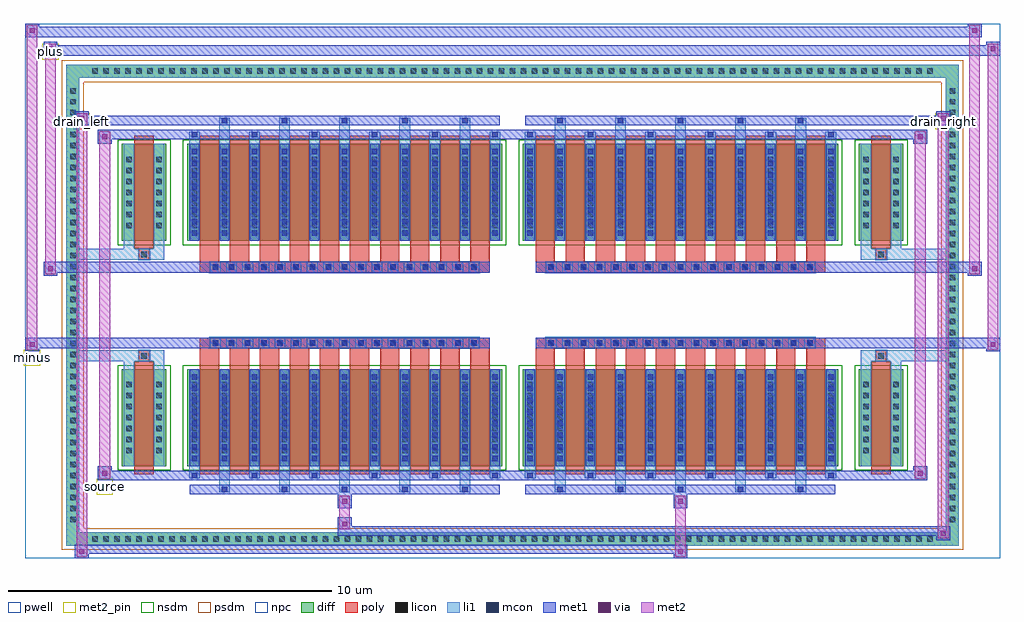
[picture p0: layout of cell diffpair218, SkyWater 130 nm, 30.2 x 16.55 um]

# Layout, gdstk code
import gdstk
lib = gdstk.Library(unit=1e-6, precision=5e-09)
def R(c, l, rs):  # rectangles x0, y0, x1, y1
    for r in rs: c.add(gdstk.rectangle(r[:2], r[2:], *l))
def A(c, l, x, y, w, h, nx, ny, dx, dy):  # array of equal rectangles
    R(c, l, [(x+i*dx, y+j*dy, x+i*dx+w, y+j*dy+h) for i in range(nx) for j in range(ny)])
def P(c, l, *ps):  # polygons
    for p in ps: c.add(gdstk.Polygon(p, *l))
pwell = (64, 44)
diff = (65, 20)
poly = (66, 20)
licon = (66, 44)
li1 = (67, 20)
mcon = (67, 44)
met1 = (68, 20)
via = (68, 44)
met2_pin = (69, 16)
met2 = (69, 20)
nsdm = (93, 44)
psdm = (94, 20)
npc = (95, 20)

diffpair218 = lib.new_cell('diffpair218')
R(diffpair218, pwell, [(-15.08,-7.84,15.08,8.71), (-12.4,-6.03,-0.01,-0.805), (0.01,-6.03,12.4,-0.805), (-12.4,0.805,-0.01,6.03), (0.01,0.805,12.4,6.03)])
A(diffpair218, diff, -13.125, -7.44, 0.41, 0.41, 77, 2, 0.34, 14.47)
A(diffpair218, diff, -13.81, -6.835, 0.41, 0.41, 1, 40, 0, 0.34)
A(diffpair218, diff, 13.4, -6.835, 0.41, 0.41, 1, 40, 0, 0.34)
R(diffpair218, diff, [(-13.125,-7.44,13.125,-7.03), (-13.81,-6.835,-13.4,6.835), (13.4,-6.835,13.81,6.835), (-12.09,-4.985,-10.71,-1.985), (-10.07,-4.985,-0.32,-1.985), (0.32,-4.985,10.07,-1.985), (10.71,-4.985,12.09,-1.985), (-12.09,1.985,-10.71,4.985), (-10.07,1.985,-0.32,4.985), (0.32,1.985,10.07,4.985), (10.71,1.985,12.09,4.985), (-13.125,7.03,13.125,7.44)])
P(diffpair218, diff, [(13.81,7.44),(-13.81,7.44),(-13.81,-7.03),(-13.4,-7.03),(-13.4,7.03),(13.4,7.03),(13.4,-7.03),(-13.4,-7.03),(-13.81,-7.03),(-13.81,-7.44),(13.81,-7.44)])
A(diffpair218, poly, -9.68, -5.235, 0.6, 3.5, 10, 2, 0.93, 6.97)
A(diffpair218, poly, 0.71, -5.235, 0.6, 3.5, 10, 2, 0.93, 6.97)
A(diffpair218, poly, -9.68, -1.735, 0.6, 0.4, 10, 2, 0.93, 3.07)
A(diffpair218, poly, 0.71, -1.735, 0.6, 0.4, 10, 2, 0.93, 3.07)
A(diffpair218, poly, -9.36, -1.335, 0.33, 0.33, 17, 2, 0.5, 2.34)
A(diffpair218, poly, 1.03, -1.335, 0.33, 0.33, 17, 2, 0.5, 2.34)
R(diffpair218, poly, [(-11.7,-5.235,-11.1,-1.735), (11.1,-5.235,11.7,-1.735), (-11.565,-1.735,-11.235,-1.405), (-11.565,-1.735,-11.235,-1.405), (11.235,-1.735,11.565,-1.405), (11.235,-1.735,11.565,-1.405), (-9.68,-1.335,-0.71,-1.005), (0.71,-1.335,9.68,-1.005), (-9.68,1.005,-0.71,1.335), (0.71,1.005,9.68,1.335), (-11.565,1.405,-11.235,1.735), (-11.565,1.405,-11.235,1.735), (11.235,1.405,11.565,1.735), (11.235,1.405,11.565,1.735), (-11.7,1.735,-11.1,5.235), (11.1,1.735,11.7,5.235)])
A(diffpair218, licon, -13.005, -7.32, 0.17, 0.17, 77, 2, 0.34, 14.47)
A(diffpair218, licon, -13.69, -6.715, 0.17, 0.17, 1, 40, 0, 0.34)
A(diffpair218, licon, 13.52, -6.715, 0.17, 0.17, 1, 40, 0, 0.34)
A(diffpair218, licon, -11.95, -4.59, 0.17, 0.17, 1, 7, 0, 0.34)
A(diffpair218, licon, -11.02, -4.59, 0.17, 0.17, 1, 7, 0, 0.34)
A(diffpair218, licon, -9.93, -4.59, 0.17, 0.17, 11, 7, 0.93, 0.34)
A(diffpair218, licon, 0.46, -4.59, 0.17, 0.17, 11, 7, 0.93, 0.34)
A(diffpair218, licon, 10.85, -4.59, 0.17, 0.17, 1, 7, 0, 0.34)
A(diffpair218, licon, 11.78, -4.59, 0.17, 0.17, 1, 7, 0, 0.34)
A(diffpair218, licon, -9.28, -1.255, 0.17, 0.17, 17, 2, 0.5, 2.34)
A(diffpair218, licon, 1.11, -1.255, 0.17, 0.17, 17, 2, 0.5, 2.34)
A(diffpair218, licon, -11.95, 2.38, 0.17, 0.17, 1, 7, 0, 0.34)
A(diffpair218, licon, -11.02, 2.38, 0.17, 0.17, 1, 7, 0, 0.34)
A(diffpair218, licon, -9.93, 2.38, 0.17, 0.17, 11, 7, 0.93, 0.34)
A(diffpair218, licon, 0.46, 2.38, 0.17, 0.17, 11, 7, 0.93, 0.34)
A(diffpair218, licon, 10.85, 2.38, 0.17, 0.17, 1, 7, 0, 0.34)
A(diffpair218, licon, 11.78, 2.38, 0.17, 0.17, 1, 7, 0, 0.34)
R(diffpair218, licon, [(-11.485,-1.655,-11.315,-1.485), (11.315,-1.655,11.485,-1.485), (-11.485,1.485,-11.315,1.655), (11.315,1.485,11.485,1.655)])
A(diffpair218, li1, -13.085, -7.4, 0.33, 0.33, 77, 2, 0.34, 14.47)
A(diffpair218, li1, -13.77, -6.795, 0.33, 0.33, 1, 40, 0, 0.34)
A(diffpair218, li1, 13.44, -6.795, 0.33, 0.33, 1, 40, 0, 0.34)
A(diffpair218, li1, -9.08, -5.79, 0.33, 0.805, 5, 2, 1.86, 10.775)
A(diffpair218, li1, -9, -5.79, 0.17, 0.17, 5, 2, 1.86, 11.41)
A(diffpair218, li1, 1.31, -5.79, 0.33, 0.805, 5, 2, 1.86, 10.775)
A(diffpair218, li1, 1.39, -5.79, 0.17, 0.17, 5, 2, 1.86, 11.41)
A(diffpair218, li1, -10.01, -5.36, 0.33, 0.375, 6, 2, 1.86, 10.345)
A(diffpair218, li1, -9.93, -5.36, 0.17, 0.17, 6, 2, 1.86, 10.55)
A(diffpair218, li1, 0.38, -5.36, 0.33, 0.375, 6, 2, 1.86, 10.345)
A(diffpair218, li1, 0.46, -5.36, 0.17, 0.17, 6, 2, 1.86, 10.55)
A(diffpair218, li1, -10.01, -4.985, 0.33, 3, 11, 2, 0.93, 6.97)
A(diffpair218, li1, 0.38, -4.985, 0.33, 3, 11, 2, 0.93, 6.97)
A(diffpair218, li1, -9.93, -4.83, 0.17, 0.17, 11, 8, 0.93, 0.36)
A(diffpair218, li1, -9.93, -4.83, 0.17, 2.69, 11, 2, 0.93, 6.97)
A(diffpair218, li1, 0.46, -4.83, 0.17, 0.17, 11, 8, 0.93, 0.36)
A(diffpair218, li1, 0.46, -4.83, 0.17, 2.69, 11, 2, 0.93, 6.97)
A(diffpair218, li1, -12.03, -4.67, 0.33, 0.33, 1, 7, 0, 0.34)
A(diffpair218, li1, -11.1, -4.67, 0.33, 0.33, 1, 7, 0, 0.34)
A(diffpair218, li1, -10.01, -4.67, 0.33, 0.33, 11, 7, 0.93, 0.34)
A(diffpair218, li1, 0.38, -4.67, 0.33, 0.33, 11, 7, 0.93, 0.34)
A(diffpair218, li1, 10.77, -4.67, 0.33, 0.33, 1, 7, 0, 0.34)
A(diffpair218, li1, 11.7, -4.67, 0.33, 0.33, 1, 7, 0, 0.34)
A(diffpair218, li1, -9.36, -1.335, 0.33, 0.33, 17, 2, 0.5, 2.34)
A(diffpair218, li1, 1.03, -1.335, 0.33, 0.33, 17, 2, 0.5, 2.34)
A(diffpair218, li1, -9.93, 2.14, 0.17, 0.17, 11, 8, 0.93, 0.36)
A(diffpair218, li1, 0.46, 2.14, 0.17, 0.17, 11, 8, 0.93, 0.36)
A(diffpair218, li1, -12.03, 2.3, 0.33, 0.33, 1, 7, 0, 0.34)
A(diffpair218, li1, -11.1, 2.3, 0.33, 0.33, 1, 7, 0, 0.34)
A(diffpair218, li1, -10.01, 2.3, 0.33, 0.33, 11, 7, 0.93, 0.34)
A(diffpair218, li1, 0.38, 2.3, 0.33, 0.33, 11, 7, 0.93, 0.34)
A(diffpair218, li1, 10.77, 2.3, 0.33, 0.33, 1, 7, 0, 0.34)
A(diffpair218, li1, 11.7, 2.3, 0.33, 0.33, 1, 7, 0, 0.34)
R(diffpair218, li1, [(-13.81,-7.44,-13.4,-7.03), (-13.81,-7.44,-13.4,-7.03), (-13.4,-7.44,13.4,-7.03), (13.4,-7.44,13.81,-7.03), (13.4,-7.44,13.81,-7.03), (-13.81,-7.03,-13.4,7.03), (13.4,-7.03,13.81,7.03), (-12.03,-4.985,-11.7,-1.985), (-11.1,-4.985,-10.77,-1.985), (10.77,-4.985,11.1,-1.985), (11.7,-4.985,12.03,-1.985), (-12.03,-1.985,-11.7,-1.405), (-11.1,-1.985,-10.77,-1.405), (10.77,-1.985,11.1,-1.405), (11.7,-1.985,12.03,-1.405), (-13.81,-1.735,-11.565,-1.405), (-12.03,-1.735,-11.565,-1.405), (-11.565,-1.735,-11.235,-1.405), (-11.235,-1.735,-10.77,-1.405), (10.77,-1.735,11.235,-1.405), (11.235,-1.735,11.565,-1.405), (11.235,-1.735,13.81,-1.405), (11.565,-1.735,12.03,-1.405), (-13.81,1.405,-11.565,1.735), (-12.03,1.405,-11.565,1.735), (-12.03,1.405,-11.7,1.985), (-11.565,1.405,-11.235,1.735), (-11.235,1.405,-10.77,1.735), (-11.1,1.405,-10.77,1.985), (10.77,1.405,11.235,1.735), (10.77,1.405,11.1,1.985), (11.235,1.405,11.565,1.735), (11.235,1.405,13.81,1.735), (11.565,1.405,12.03,1.735), (11.7,1.405,12.03,1.985), (-12.03,1.985,-11.7,4.985), (-11.1,1.985,-10.77,4.985), (10.77,1.985,11.1,4.985), (11.7,1.985,12.03,4.985), (-13.81,7.03,-13.4,7.44), (-13.81,7.03,-13.4,7.44), (-13.4,7.03,13.4,7.44), (13.4,7.03,13.81,7.44), (13.4,7.03,13.81,7.44)])
A(diffpair218, mcon, -9, -5.79, 0.17, 0.17, 5, 2, 1.86, 11.41)
A(diffpair218, mcon, 1.39, -5.79, 0.17, 0.17, 5, 2, 1.86, 11.41)
A(diffpair218, mcon, -9.93, -5.36, 0.17, 0.17, 6, 2, 1.86, 10.55)
A(diffpair218, mcon, 0.46, -5.36, 0.17, 0.17, 6, 2, 1.86, 10.55)
A(diffpair218, mcon, -9.93, -4.83, 0.17, 0.17, 11, 8, 0.93, 0.36)
A(diffpair218, mcon, 0.46, -4.83, 0.17, 0.17, 11, 8, 0.93, 0.36)
A(diffpair218, mcon, -9.28, -1.255, 0.17, 0.17, 17, 2, 0.5, 2.34)
A(diffpair218, mcon, 1.11, -1.255, 0.17, 0.17, 17, 2, 0.5, 2.34)
A(diffpair218, mcon, -9.93, 2.14, 0.17, 0.17, 11, 8, 0.93, 0.36)
A(diffpair218, mcon, 0.46, 2.14, 0.17, 0.17, 11, 8, 0.93, 0.36)
A(diffpair218, met1, -9.06, -5.85, 0.29, 0.29, 5, 2, 1.86, 11.41)
A(diffpair218, met1, 1.33, -5.85, 0.29, 0.29, 5, 2, 1.86, 11.41)
A(diffpair218, met1, -9.99, -5.42, 0.29, 0.29, 6, 2, 1.86, 10.55)
A(diffpair218, met1, 0.4, -5.42, 0.29, 0.29, 6, 2, 1.86, 10.55)
A(diffpair218, met1, -9.99, -4.985, 0.29, 3, 11, 2, 0.93, 6.97)
A(diffpair218, met1, 0.4, -4.985, 0.29, 3, 11, 2, 0.93, 6.97)
A(diffpair218, met1, -9.99, -4.89, 0.29, 0.29, 11, 8, 0.93, 0.36)
A(diffpair218, met1, 0.4, -4.89, 0.29, 0.29, 11, 8, 0.93, 0.36)
A(diffpair218, met1, -9.34, -1.315, 0.29, 0.29, 17, 2, 0.5, 2.34)
A(diffpair218, met1, 1.05, -1.315, 0.29, 0.29, 17, 2, 0.5, 2.34)
A(diffpair218, met1, -9.99, 2.08, 0.29, 0.29, 11, 8, 0.93, 0.36)
A(diffpair218, met1, 0.4, 2.08, 0.29, 0.29, 11, 8, 0.93, 0.36)
R(diffpair218, met1, [(-13.54,-7.84,-13.11,-7.41), (4.98,-7.84,5.41,-7.41), (-13.54,-7.7,5.41,-7.41), (13.11,-7.27,13.54,-6.84), (-5.41,-7.13,13.54,-6.84), (-5.41,-6.99,-4.98,-6.56), (-5.41,-6.28,-4.98,-5.85), (4.98,-6.28,5.41,-5.85), (-9.99,-5.85,-0.4,-5.56), (0.4,-5.85,9.99,-5.56), (-12.83,-5.42,-12.4,-4.99), (-12.83,-5.42,-9.99,-5.13), (-9.99,-5.42,-0.4,-5.13), (-0.4,-5.42,0.4,-5.13), (0.4,-5.42,9.99,-5.13), (9.99,-5.42,12.83,-5.13), (12.4,-5.42,12.83,-4.99), (-15.08,-1.435,-14.65,-1.005), (14.65,-1.435,15.08,-1.005), (-15.08,-1.335,-0.71,-1.005), (-9.68,-1.335,-0.71,-1.005), (0.71,-1.335,9.68,-1.005), (0.71,-1.335,15.08,-1.005), (-14.51,0.905,-14.08,1.335), (14.08,0.905,14.51,1.335), (-14.51,1.005,-9.68,1.335), (-9.68,1.005,-0.71,1.335), (0.71,1.005,9.68,1.335), (9.68,1.005,14.51,1.335), (-12.83,4.99,-12.4,5.42), (12.4,4.99,12.83,5.42), (-12.83,5.13,-9.99,5.42), (-9.99,5.13,-0.4,5.42), (-0.4,5.13,0.4,5.42), (0.4,5.13,9.99,5.42), (9.99,5.13,12.83,5.42), (-13.54,5.56,-13.11,5.99), (-13.54,5.56,-9.99,5.85), (-9.99,5.56,-0.4,5.85), (0.4,5.56,9.99,5.85), (9.99,5.56,13.54,5.85), (13.11,5.56,13.54,5.99), (-14.51,7.71,-14.08,8.14), (-14.51,7.71,-12.4,8.04), (-12.4,7.71,12.4,8.04), (12.4,7.71,15.08,8.04), (14.65,7.71,15.08,8.14), (-15.08,8.28,-14.65,8.71), (-15.08,8.28,-12.4,8.61), (-12.4,8.28,12.4,8.61), (12.4,8.28,14.51,8.61), (14.08,8.28,14.51,8.71)])
R(diffpair218, via, [(-13.4,-7.7,-13.25,-7.55), (5.12,-7.7,5.27,-7.55), (13.25,-7.13,13.4,-6.98), (-5.27,-6.85,-5.12,-6.7), (-5.27,-6.14,-5.12,-5.99), (5.12,-6.14,5.27,-5.99), (-12.69,-5.28,-12.54,-5.13), (12.54,-5.28,12.69,-5.13), (-14.94,-1.295,-14.79,-1.145), (14.79,-1.295,14.94,-1.145), (-14.37,1.045,-14.22,1.195), (14.22,1.045,14.37,1.195), (-12.69,5.13,-12.54,5.28), (12.54,5.13,12.69,5.28), (-13.4,5.7,-13.25,5.85), (13.25,5.7,13.4,5.85), (-14.37,7.85,-14.22,8), (14.79,7.85,14.94,8), (-14.94,8.42,-14.79,8.57), (14.22,8.42,14.37,8.57)])
R(diffpair218, met2_pin, [(-12.865,-5.87,-12.365,-5.37), (-15.115,-1.885,-14.615,-1.385), (-13.575,5.44,-13.075,5.94), (13.075,5.44,13.575,5.94), (-14.545,7.59,-14.045,8.09)])
R(diffpair218, met2, [(-13.49,-7.79,-13.16,-7.46), (-13.49,-7.79,-13.16,5.94), (5.03,-7.79,5.36,-7.46), (5.03,-7.46,5.36,-6.23), (13.16,-7.22,13.49,-6.89), (13.16,-7.22,13.49,5.94), (-5.36,-6.94,-5.03,-6.61), (-5.36,-6.61,-5.03,-6.23), (-5.36,-6.23,-5.03,-5.9), (5.03,-6.23,5.36,-5.9), (-12.78,-5.37,-12.45,-5.04), (-12.78,-5.37,-12.45,5.37), (12.45,-5.37,12.78,-5.04), (12.45,-5.37,12.78,5.37), (-15.03,-1.385,-14.7,-1.055), (-15.03,-1.385,-14.7,8.66), (14.7,-1.385,15.03,-1.055), (14.7,-1.385,15.03,8.09), (-14.46,0.955,-14.13,1.285), (-14.46,0.955,-14.13,8.09), (14.13,0.955,14.46,1.285), (14.13,0.955,14.46,8.66), (-12.78,5.04,-12.45,5.37), (12.45,5.04,12.78,5.37), (-13.49,5.61,-13.16,5.94), (13.16,5.61,13.49,5.94), (-14.46,7.76,-14.13,8.09), (14.7,7.76,15.03,8.09), (-15.03,8.33,-14.7,8.66), (14.13,8.33,14.46,8.66)])
P(diffpair218, met2, [(15.03,-1.385),(15.03,-1.385),(15.03,-1.055),(15.03,-1.055)],
  [(15.03,7.76),(15.03,7.76),(15.03,8.09),(15.03,8.09)],
  [(-14.7,-1.385),(-14.7,-1.385),(-14.7,-1.055),(-14.7,-1.055)],
  [(-14.7,8.33),(-14.7,8.33),(-14.7,8.66),(-14.7,8.66)],
  [(14.46,0.955),(14.46,0.955),(14.46,1.285),(14.46,1.285)],
  [(14.46,8.33),(14.46,8.33),(14.46,8.66),(14.46,8.66)],
  [(-14.13,0.955),(-14.13,0.955),(-14.13,1.285),(-14.13,1.285)],
  [(-14.13,7.76),(-14.13,7.76),(-14.13,8.09),(-14.13,8.09)],
  [(-13.16,-7.79),(-13.16,-7.79),(-13.16,-7.46),(-13.16,-7.46)],
  [(-13.16,5.61),(-13.16,5.61),(-13.16,5.94),(-13.16,5.94)],
  [(13.49,-7.22),(13.49,-7.22),(13.49,-6.89),(13.49,-6.89)],
  [(13.49,5.61),(13.49,5.61),(13.49,5.94),(13.49,5.94)],
  [(-12.45,-5.37),(-12.45,-5.37),(-12.45,-5.04),(-12.45,-5.04)],
  [(-12.45,5.04),(-12.45,5.04),(-12.45,5.37),(-12.45,5.37)],
  [(12.78,-5.37),(12.78,-5.37),(12.78,-5.04),(12.78,-5.04)],
  [(12.78,5.04),(12.78,5.04),(12.78,5.37),(12.78,5.37)])
R(diffpair218, nsdm, [(-12.22,-5.115,-10.58,-1.855), (-10.2,-5.115,-0.19,-1.855), (0.19,-5.115,10.2,-1.855), (10.58,-5.115,12.22,-1.855), (-12.22,1.855,-10.58,5.115), (-10.2,1.855,-0.19,5.115), (0.19,1.855,10.2,5.115), (10.58,1.855,12.22,5.115)])
P(diffpair218, psdm, [(13.94,7.57),(-13.94,7.57),(-13.94,-6.9),(-13.27,-6.9),(-13.27,6.9),(13.27,6.9),(13.27,-6.9),(-13.27,-6.9),(-13.94,-6.9),(-13.94,-7.57),(13.94,-7.57)])
A(diffpair218, npc, -9.38, -1.355, 0.37, 0.37, 17, 2, 0.5, 2.34)
A(diffpair218, npc, 1.01, -1.355, 0.37, 0.37, 17, 2, 0.5, 2.34)
R(diffpair218, npc, [(-11.585,-1.755,-11.215,-1.385), (11.215,-1.755,11.585,-1.385), (-9.38,-1.355,-8.51,-0.985), (-9.38,-1.355,-8.51,-0.985), (-8.88,-1.355,-8.01,-0.985), (-8.88,-1.355,-8.01,-0.985), (-8.38,-1.355,-7.51,-0.985), (-8.38,-1.355,-7.51,-0.985), (-7.88,-1.355,-7.01,-0.985), (-7.88,-1.355,-7.01,-0.985), (-7.38,-1.355,-6.51,-0.985), (-7.38,-1.355,-6.51,-0.985), (-6.88,-1.355,-6.01,-0.985), (-6.88,-1.355,-6.01,-0.985), (-6.38,-1.355,-5.51,-0.985), (-6.38,-1.355,-5.51,-0.985), (-5.88,-1.355,-5.01,-0.985), (-5.88,-1.355,-5.01,-0.985), (-5.38,-1.355,-4.51,-0.985), (-5.38,-1.355,-4.51,-0.985), (-4.88,-1.355,-4.01,-0.985), (-4.88,-1.355,-4.01,-0.985), (-4.38,-1.355,-3.51,-0.985), (-4.38,-1.355,-3.51,-0.985), (-3.88,-1.355,-3.01,-0.985), (-3.88,-1.355,-3.01,-0.985), (-3.38,-1.355,-2.51,-0.985), (-3.38,-1.355,-2.51,-0.985), (-2.88,-1.355,-2.01,-0.985), (-2.88,-1.355,-2.01,-0.985), (-2.38,-1.355,-1.51,-0.985), (-2.38,-1.355,-1.51,-0.985), (-1.88,-1.355,-1.01,-0.985), (-1.88,-1.355,-1.01,-0.985), (1.01,-1.355,1.88,-0.985), (1.01,-1.355,1.88,-0.985), (1.51,-1.355,2.38,-0.985), (1.51,-1.355,2.38,-0.985), (2.01,-1.355,2.88,-0.985), (2.01,-1.355,2.88,-0.985), (2.51,-1.355,3.38,-0.985), (2.51,-1.355,3.38,-0.985), (3.01,-1.355,3.88,-0.985), (3.01,-1.355,3.88,-0.985), (3.51,-1.355,4.38,-0.985), (3.51,-1.355,4.38,-0.985), (4.01,-1.355,4.88,-0.985), (4.01,-1.355,4.88,-0.985), (4.51,-1.355,5.38,-0.985), (4.51,-1.355,5.38,-0.985), (5.01,-1.355,5.88,-0.985), (5.01,-1.355,5.88,-0.985), (5.51,-1.355,6.38,-0.985), (5.51,-1.355,6.38,-0.985), (6.01,-1.355,6.88,-0.985), (6.01,-1.355,6.88,-0.985), (6.51,-1.355,7.38,-0.985), (6.51,-1.355,7.38,-0.985), (7.01,-1.355,7.88,-0.985), (7.01,-1.355,7.88,-0.985), (7.51,-1.355,8.38,-0.985), (7.51,-1.355,8.38,-0.985), (8.01,-1.355,8.88,-0.985), (8.01,-1.355,8.88,-0.985), (8.51,-1.355,9.38,-0.985), (8.51,-1.355,9.38,-0.985), (-9.38,0.985,-8.51,1.355), (-9.38,0.985,-8.51,1.355), (-8.88,0.985,-8.01,1.355), (-8.88,0.985,-8.01,1.355), (-8.38,0.985,-7.51,1.355), (-8.38,0.985,-7.51,1.355), (-7.88,0.985,-7.01,1.355), (-7.88,0.985,-7.01,1.355), (-7.38,0.985,-6.51,1.355), (-7.38,0.985,-6.51,1.355), (-6.88,0.985,-6.01,1.355), (-6.88,0.985,-6.01,1.355), (-6.38,0.985,-5.51,1.355), (-6.38,0.985,-5.51,1.355), (-5.88,0.985,-5.01,1.355), (-5.88,0.985,-5.01,1.355), (-5.38,0.985,-4.51,1.355), (-5.38,0.985,-4.51,1.355), (-4.88,0.985,-4.01,1.355), (-4.88,0.985,-4.01,1.355), (-4.38,0.985,-3.51,1.355), (-4.38,0.985,-3.51,1.355), (-3.88,0.985,-3.01,1.355), (-3.88,0.985,-3.01,1.355), (-3.38,0.985,-2.51,1.355), (-3.38,0.985,-2.51,1.355), (-2.88,0.985,-2.01,1.355), (-2.88,0.985,-2.01,1.355), (-2.38,0.985,-1.51,1.355), (-2.38,0.985,-1.51,1.355), (-1.88,0.985,-1.01,1.355), (-1.88,0.985,-1.01,1.355), (1.01,0.985,1.88,1.355), (1.01,0.985,1.88,1.355), (1.51,0.985,2.38,1.355), (1.51,0.985,2.38,1.355), (2.01,0.985,2.88,1.355), (2.01,0.985,2.88,1.355), (2.51,0.985,3.38,1.355), (2.51,0.985,3.38,1.355), (3.01,0.985,3.88,1.355), (3.01,0.985,3.88,1.355), (3.51,0.985,4.38,1.355), (3.51,0.985,4.38,1.355), (4.01,0.985,4.88,1.355), (4.01,0.985,4.88,1.355), (4.51,0.985,5.38,1.355), (4.51,0.985,5.38,1.355), (5.01,0.985,5.88,1.355), (5.01,0.985,5.88,1.355), (5.51,0.985,6.38,1.355), (5.51,0.985,6.38,1.355), (6.01,0.985,6.88,1.355), (6.01,0.985,6.88,1.355), (6.51,0.985,7.38,1.355), (6.51,0.985,7.38,1.355), (7.01,0.985,7.88,1.355), (7.01,0.985,7.88,1.355), (7.51,0.985,8.38,1.355), (7.51,0.985,8.38,1.355), (8.01,0.985,8.88,1.355), (8.01,0.985,8.88,1.355), (8.51,0.985,9.38,1.355), (8.51,0.985,9.38,1.355), (-11.585,1.385,-11.215,1.755), (11.215,1.385,11.585,1.755)])
diffpair218.add(gdstk.Label('minus', (-14.865,-1.635), layer=69, texttype=5))
diffpair218.add(gdstk.Label('drain_right', (13.325,5.69), layer=69, texttype=5))
diffpair218.add(gdstk.Label('drain_left', (-13.325,5.69), layer=69, texttype=5))
diffpair218.add(gdstk.Label('source', (-12.615,-5.62), layer=69, texttype=5))
diffpair218.add(gdstk.Label('plus', (-14.295,7.84), layer=69, texttype=5))

lib.write_gds('diffpair218.gds')
